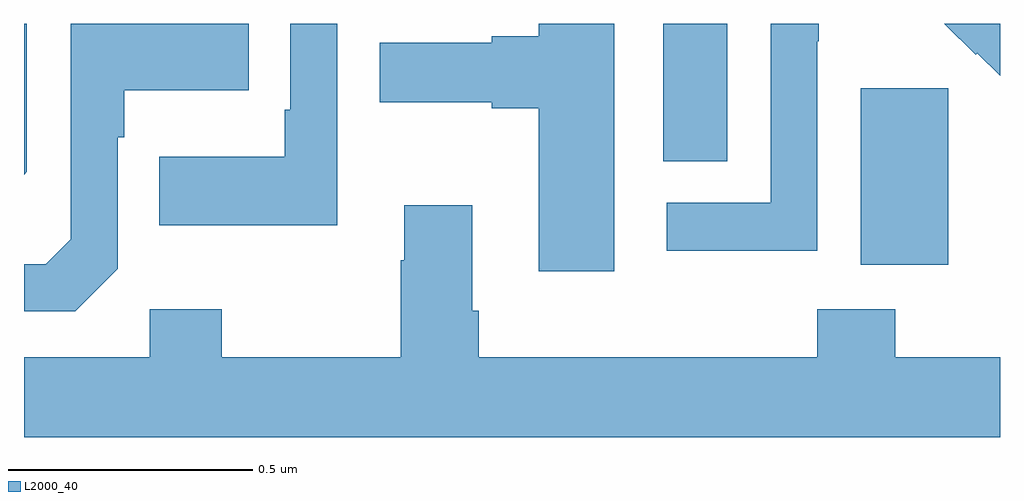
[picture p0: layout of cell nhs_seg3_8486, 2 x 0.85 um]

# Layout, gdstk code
import gdstk
lib = gdstk.Library(unit=1e-6, precision=1e-09)
def R(c, l, rs):  # rectangles x0, y0, x1, y1
    for r in rs: c.add(gdstk.rectangle(r[:2], r[2:], *l))
def P(c, l, *ps):  # polygons
    for p in ps: c.add(gdstk.Polygon(p, *l))
L2000_40 = (2000, 40)

nhs_seg3_8486 = lib.new_cell('nhs_seg3_8486')
R(nhs_seg3_8486, L2000_40, [(217.715,731.906,217.894,732.267), (217.31,732.118,217.441,732.4)])
P(nhs_seg3_8486, L2000_40, [(216.006,732.096),(216.006,732.4),(216,732.4),(216,732.09)],
  [(217.21,732.4),(217.055,732.4),(217.055,732.374),(216.959,732.374),(216.959,732.361),(216.729,732.361),(216.729,732.239),(216.959,732.239),(216.959,732.227),(217.055,732.227),(217.055,731.892),(217.21,731.892)],
  [(216.642,732.4),(216.546,732.4),(216.546,732.223),(216.534,732.223),(216.534,732.127),(216.277,732.127),(216.277,731.987),(216.642,731.987)],
  [(216.192,731.898),(216.192,732.167),(216.205,732.167),(216.205,732.263),(216.461,732.263),(216.461,732.4),(216.096,732.4),(216.096,731.958),(216.045,731.907),(216,731.907),(216,731.811),(216.105,731.811)],
  [(217.626,732.364),(217.629,732.364),(217.629,732.4),(217.53,732.4),(217.53,732.033),(217.317,732.033),(217.317,731.935),(217.626,731.935)],
  [(218,732.4),(217.886,732.4),(217.95,732.336),(217.953,732.339),(218,732.293)],
  [(218,731.716),(217.785,731.716),(217.785,731.815),(217.625,731.815),(217.625,731.716),(216.932,731.716),(216.932,731.812),(216.919,731.812),(216.919,732.028),(216.779,732.028),(216.779,731.915),(216.772,731.915),(216.772,731.716),(216.405,731.716),(216.405,731.815),(216.258,731.815),(216.258,731.716),(216,731.716),(216,731.552),(218,731.552)])

lib.write_gds('nhs_seg3_8486.gds')
